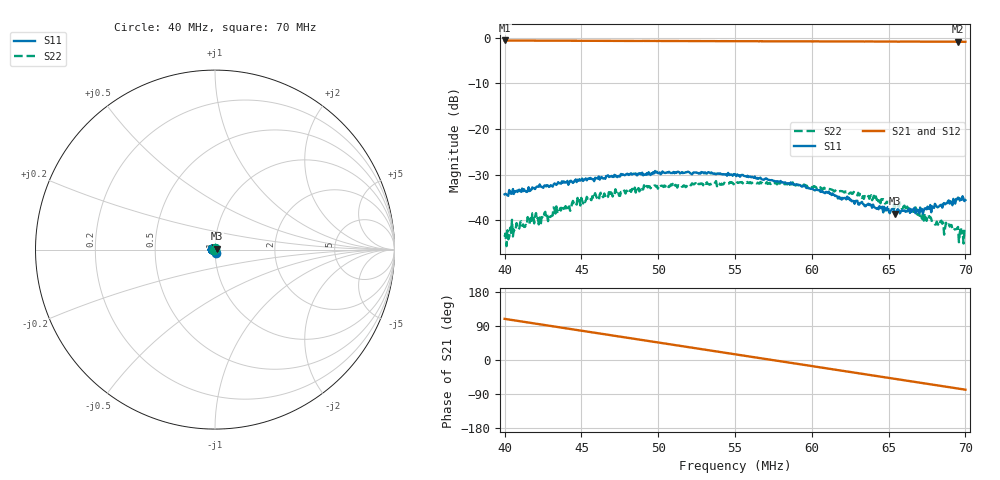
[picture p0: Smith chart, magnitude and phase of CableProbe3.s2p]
#  HZ  S  DB  R  50.00
! Rohde & Schwarz Vector Network Analyzer
! Rohde-Schwarz,ZNB8-4Port,1311601044102961,2.82
! Created: UTC 1/14/2019, 9:22:42 AM
! freq[Hz]  db:S11  ang:S11  db:S21  ang:S21  db:S12  ang:S12  db:S22  ang:S22
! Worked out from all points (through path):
!   500 points, 40 MHz to 70 MHz, reference 50 ohm
!   highest |S21| = -0.58 dB at 40 MHz (marker M1); lowest = -0.9 dB at 69.52 MHz (marker M2)
!   group delay of S21, straight-line fit = 17.3 ns
!   lowest |S11| = -38.5 dB at 65.43 MHz (marker M3), VSWR 1.02, Z = 51.1 + j0.501 ohm
!   |S11| at or under -10 dB: start of sweep to end of sweep
!   |S22| runs from -45.6 to -31.4 dB; largest |S21 - S12| = 0.0074
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4e7  -34.30 -79.9  -0.58 108.6  -0.65 108.5  -43.54 -152.2
4.048096e7  -34.15 -82.1  -0.59 105.5  -0.65 105.6  -39.87 -154.8
4.132265e7  -33.51 -92.2  -0.61 100.3  -0.66 100.3  -41.43 -172.8
4.192385e7  -32.89 -101.4  -0.61 96.5  -0.67 96.6  -40.65 -179.8
4.222445e7  -32.62 -107.8  -0.62 94.7  -0.67 94.7  -40.87 -179.0
4.252505e7  -32.84 -109.8  -0.62 92.8  -0.68 92.8  -39.58 174.5
4.294589e7  -32.57 -115.7  -0.62 90.2  -0.67 90.2  -39.28 178.1
4.330661e7  -32.00 -117.7  -0.63 87.9  -0.68 87.9  -38.50 167.0
4.50501e7  -30.84 -134.9  -0.65 77.0  -0.68 77.1  -35.65 150.0
4.583166e7  -31.42 -141.7  -0.66 72.1  -0.70 72.3  -34.65 140.0
5.004008e7  -29.65 -173.0  -0.69 46.0  -0.75 46.0  -32.41 103.3
5.503006e7  -29.93 148.8  -0.74 14.9  -0.78 14.8  -31.56 66.8
5.743487e7  -31.25 129.6  -0.76 -0.1  -0.80 -0.2  -32.00 48.7
6.002004e7  -33.06 104.2  -0.78 -16.2  -0.81 -16.2  -32.67 33.6
6.501002e7  -38.00 28.6  -0.82 -47.3  -0.86 -47.3  -35.95 5.0
6.543086e7  -38.52 24.4  -0.81 -49.8  -0.85 -50.0  -36.38 11.9
6.687375e7  -37.64 -10.8  -0.84 -58.8  -0.87 -58.9  -38.72 10.9
6.765531e7  -37.49 -27.7  -0.84 -63.7  -0.88 -63.8  -39.36 3.7
6.795591e7  -37.28 -31.6  -0.84 -65.5  -0.89 -65.6  -40.62 11.1
6.897796e7  -36.33 -53.6  -0.85 -72.0  -0.89 -72.0  -41.35 27.5
6.951904e7  -35.00 -58.6  -0.87 -75.3  -0.90 -75.4  -41.43 19.2
7e7  -35.55 -62.6  -0.86 -78.3  -0.90 -78.4  -41.60 37.7
